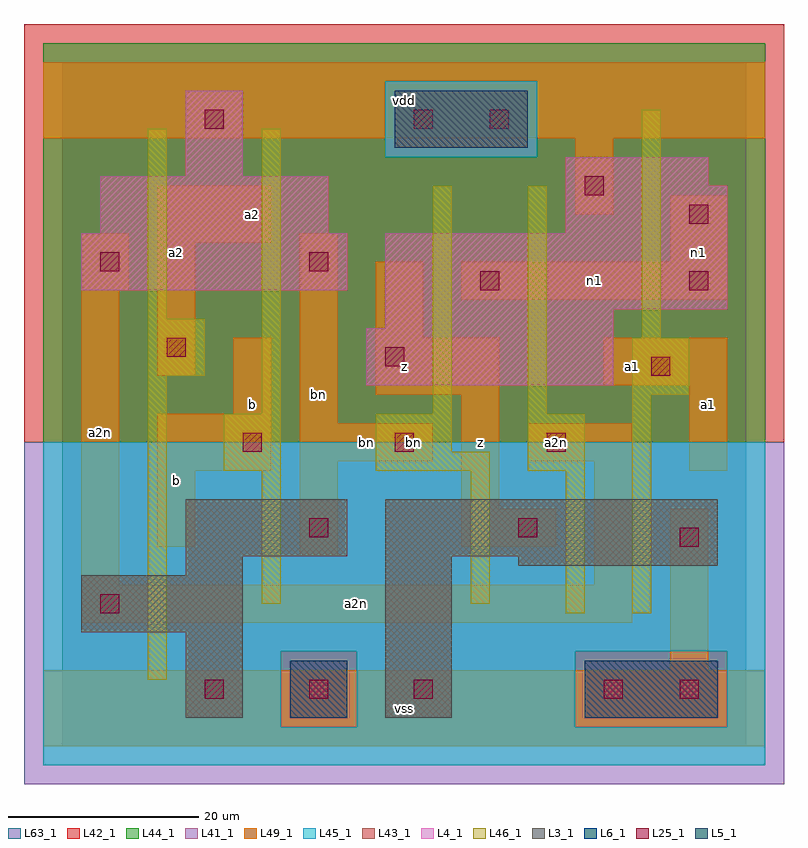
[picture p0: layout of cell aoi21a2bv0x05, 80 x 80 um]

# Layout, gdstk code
import gdstk
lib = gdstk.Library(unit=1e-6, precision=1e-09)
def R(c, l, rs):  # rectangles x0, y0, x1, y1
    for r in rs: c.add(gdstk.rectangle(r[:2], r[2:], *l))
def A(c, l, x, y, w, h, nx, ny, dx, dy):  # array of equal rectangles
    R(c, l, [(x+i*dx, y+j*dy, x+i*dx+w, y+j*dy+h) for i in range(nx) for j in range(ny)])
L3_1 = (3, 1)
L4_1 = (4, 1)
L5_1 = (5, 1)
L6_1 = (6, 1)
L25_1 = (25, 1)
L41_1 = (41, 1)
L42_1 = (42, 1)
L43_1 = (43, 1)
L44_1 = (44, 1)
L45_1 = (45, 1)
L46_1 = (46, 1)
L49_1 = (49, 1)
L63_1 = (63, 1)

aoi21a2bv0x05 = lib.new_cell('aoi21a2bv0x05')
R(aoi21a2bv0x05, L3_1, [(13,3,19,12), (34,3,41,20), (2,12,19,18), (13,18,19,20), (48,19,69,20), (13,20,30,26), (34,20,69,26)])
R(aoi21a2bv0x05, L4_1, [(32,38,58,44), (34,44,58,46), (34,46,70,54), (2,48,30,54), (4,54,28,60), (53,54,70,59), (53,59,68,62), (13,60,19,69)])
R(aoi21a2bv0x05, L5_1, [(35,63,49,69)])
R(aoi21a2bv0x05, L6_1, [(24,3,30,9), (24,3,30,9), (55,3,69,9), (55,3,69,9)])
A(aoi21a2bv0x05, L25_1, 15, 5, 2, 2, 3, 1, 11, 0)
A(aoi21a2bv0x05, L25_1, 19, 31, 2, 2, 3, 1, 16, 0)
R(aoi21a2bv0x05, L25_1, [(57,5,59,7), (65,5,67,7), (4,14,6,16), (65,21,67,23), (26,22,28,24), (48,22,50,24), (62,39,64,41), (34,40,36,42), (11,41,13,43), (44,48,46,50), (66,48,68,50), (4,50,6,52), (26,50,28,52), (66,55,68,57), (55,58,57,60), (15,65,17,67), (37,65,39,67), (45,65,47,67)])
R(aoi21a2bv0x05, L41_1, [(-4,-4,76,32)])
R(aoi21a2bv0x05, L42_1, [(-4,32,76,76)])
R(aoi21a2bv0x05, L43_1, [(13,3,19,12), (24,3,30,9), (34,3,41,20), (55,3,69,9), (2,12,19,18), (13,18,19,20), (48,19,69,20), (13,20,30,26), (34,20,69,26), (32,38,58,44), (34,44,58,46), (34,46,70,54), (2,48,30,54), (4,54,28,60), (53,54,70,59), (53,59,68,62), (13,60,19,69), (35,63,49,69)])
R(aoi21a2bv0x05, L44_1, [(23,2,31,10), (54,2,70,10), (-2,32,74,62), (-2,62,34,70), (50,62,74,70), (-2,70,74,74)])
R(aoi21a2bv0x05, L45_1, [(-2,-2,74,2), (-2,2,23,10), (31,2,54,10), (70,2,74,10), (-2,10,74,32), (34,62,50,70)])
R(aoi21a2bv0x05, L46_1, [(9,7,11,39), (53,14,55,29), (60,14,62,37), (21,15,23,29), (43,15,45,29), (17,29,23,35), (33,29,45,31), (49,29,55,35), (33,31,41,35), (21,35,23,65), (39,35,41,59), (49,35,51,59), (60,37,66,43), (9,39,15,45), (61,43,63,67), (9,45,11,65)])
R(aoi21a2bv0x05, L49_1, [(-2,0,74,8), (64,8,68,25), (2,13,60,17), (2,17,6,48), (56,17,60,30), (25,20,29,30), (10,21,14,29), (42,21,52,25), (42,25,46,37), (10,29,22,35), (66,29,70,38), (25,30,39,34), (49,30,60,34), (25,34,29,54), (18,35,22,43), (33,37,46,43), (57,38,70,43), (10,39,14,53), (33,43,38,51), (42,47,70,51), (2,48,7,54), (64,51,70,58), (10,53,22,59), (54,56,58,64), (-2,64,74,72)])
R(aoi21a2bv0x05, L63_1, [(0,0,72,72)])
aoi21a2bv0x05.add(gdstk.Label('bn', (37,32), layer=49, texttype=1))
aoi21a2bv0x05.add(gdstk.Label('a2n', (52,32), layer=49, texttype=1))
aoi21a2bv0x05.add(gdstk.Label('b', (12,28), layer=49, texttype=1))
aoi21a2bv0x05.add(gdstk.Label('a2n', (4,33), layer=49, texttype=1))
aoi21a2bv0x05.add(gdstk.Label('a2', (12,52), layer=49, texttype=1))
aoi21a2bv0x05.add(gdstk.Label('bn', (27,37), layer=49, texttype=1))
aoi21a2bv0x05.add(gdstk.Label('b', (20,36), layer=49, texttype=1))
aoi21a2bv0x05.add(gdstk.Label('a2', (20,56), layer=49, texttype=1))
aoi21a2bv0x05.add(gdstk.Label('vss', (36,4), layer=49, texttype=1))
aoi21a2bv0x05.add(gdstk.Label('bn', (32,32), layer=49, texttype=1))
aoi21a2bv0x05.add(gdstk.Label('z', (44,32), layer=49, texttype=1))
aoi21a2bv0x05.add(gdstk.Label('z', (36,40), layer=49, texttype=1))
aoi21a2bv0x05.add(gdstk.Label('vdd', (36,68), layer=49, texttype=1))
aoi21a2bv0x05.add(gdstk.Label('a2n', (31,15), layer=49, texttype=1))
aoi21a2bv0x05.add(gdstk.Label('a2n', (54,32), layer=49, texttype=1))
aoi21a2bv0x05.add(gdstk.Label('a1', (60,40), layer=49, texttype=1))
aoi21a2bv0x05.add(gdstk.Label('a1', (68,36), layer=49, texttype=1))
aoi21a2bv0x05.add(gdstk.Label('n1', (56,49), layer=49, texttype=1))
aoi21a2bv0x05.add(gdstk.Label('n1', (67,52), layer=49, texttype=1))

lib.write_gds('aoi21a2bv0x05.gds')
